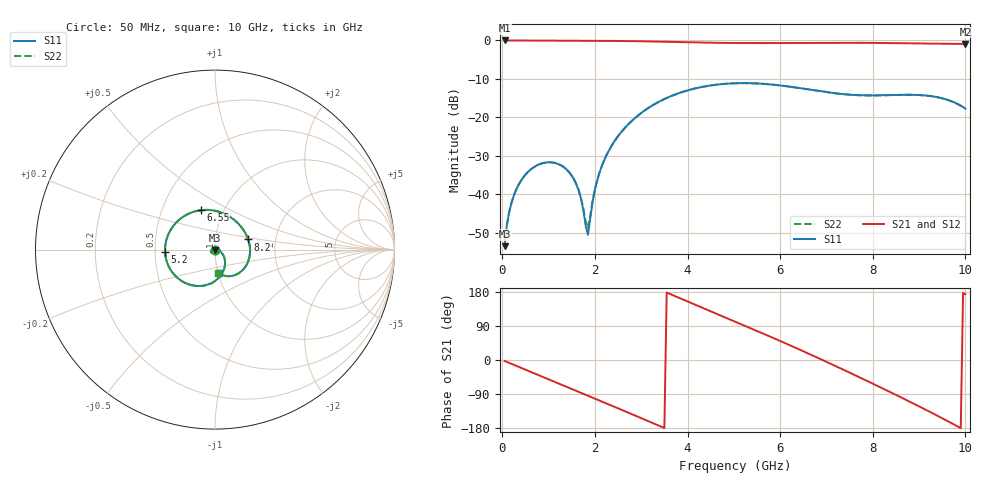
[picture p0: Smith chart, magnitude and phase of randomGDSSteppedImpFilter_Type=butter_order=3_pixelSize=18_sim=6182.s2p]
! freq	dB(S11)	phase(S11)	dB(S12)	phase(S12)
!  dB(S21)	phase(S21)	dB(S22)	phase(S22)
!S-par simulation data
#  GHz  S  DB  R 50
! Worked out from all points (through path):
!   200 points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, 50 MHz to 10 GHz, reference 50 ohm
!   highest |S21| = 0.00 dB at 50 MHz (marker M1); lowest = -0.9 dB at 10 GHz (marker M2)
!   group delay of S21, straight-line fit = 150 ps
!   lowest |S11| = -53.5 dB at 50 MHz (marker M3), VSWR 1.00, Z = 50 - j0.207 ohm
!   |S11| at or under -10 dB: start of sweep to end of sweep
!   |S22| runs from -53.5 to -11.1 dB; largest |S21 - S12| = 0
!   S11 on the Smith chart (normalised r, x): 50 MHz: 1.00, -0.00; 5.2 GHz: 0.56, -0.02; 6.55 GHz: 0.78, +0.36; 8.2 GHz: 1.44, +0.17; 10 GHz: 1.01, -0.26
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0.05  -53.54 -100.5  -0.00 -2.6  -0.00 -2.6  -53.51 -100.3
0.15  -44.57 -101.3  -0.01 -7.7  -0.01 -7.7  -44.57 -101.4
0.25  -40.31 -105.5  -0.01 -12.7  -0.01 -12.7  -40.31 -105.6
0.75  -32.50 -131.5  -0.03 -38.1  -0.03 -38.1  -32.50 -131.8
1.4  -33.73 -168.5  -0.06 -71.0  -0.06 -71.0  -33.70 -169.7
1.6  -37.48 176.5  -0.07 -81.2  -0.07 -81.2  -37.40 174.2
1.75  -44.16 153.0  -0.08 -88.9  -0.08 -88.9  -43.74 148.1
1.85  -50.60 75.2  -0.09 -94.0  -0.09 -94.0  -48.80 77.0
2.05  -36.40 -3.6  -0.10 -104.2  -0.10 -104.2  -36.29 -0.7
2.3  -28.69 -23.1  -0.12 -117.1  -0.12 -117.1  -28.67 -21.7
3.4  -15.85 -83.9  -0.31 -174.3  -0.31 -174.3  -15.84 -83.4
4.15  -12.53 -123.0  -0.51 146.9  -0.51 146.9  -12.53 -122.6
5.05  -11.13 -169.5  -0.67 100.4  -0.67 100.4  -11.13 -169.3
5.2  -11.11 -177.3  -0.68 92.6  -0.68 92.6  -11.11 -177.2
5.85  -11.51 148.3  -0.67 58.3  -0.67 58.3  -11.51 148.3
6.55  -12.64 109.9  -0.62 20.3  -0.62 20.3  -12.64 109.7
6.7  -12.92 101.5  -0.61 12.0  -0.61 12.0  -12.92 101.3
7.4  -14.02 62.0  -0.60 -27.6  -0.60 -27.6  -14.02 61.6
8.2  -14.28 17.1  -0.66 -74.2  -0.66 -74.2  -14.28 16.6
8.35  -14.23 8.7  -0.68 -83.1  -0.68 -83.1  -14.24 8.2
9.1  -14.29 -33.0  -0.80 -128.5  -0.80 -128.5  -14.29 -33.4
10  -17.72 -80.7  -0.92 173.6  -0.92 173.6  -17.75 -81.5
